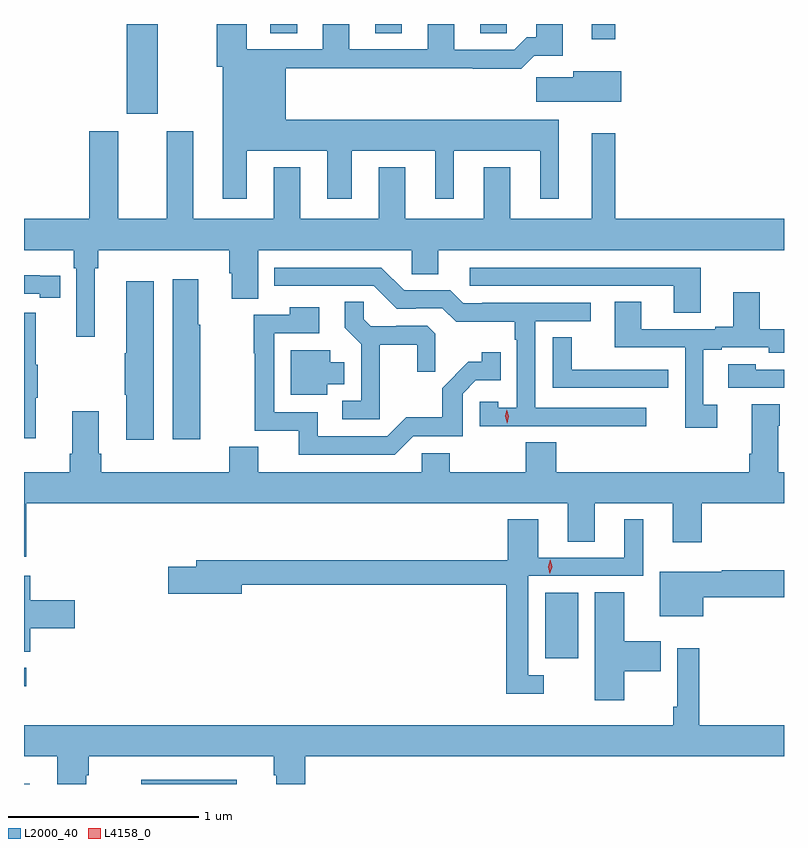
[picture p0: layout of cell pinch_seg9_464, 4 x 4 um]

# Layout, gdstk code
import gdstk
lib = gdstk.Library(unit=1e-6, precision=1e-09)
def R(c, l, rs):  # rectangles x0, y0, x1, y1
    for r in rs: c.add(gdstk.rectangle(r[:2], r[2:], *l))
def P(c, l, *ps):  # polygons
    for p in ps: c.add(gdstk.Polygon(p, *l))
L2000_40 = (2000, 40)
L4158_0 = (4158, 0)

pinch_seg9_464 = lib.new_cell('pinch_seg9_464')
R(pinch_seg9_464, L2000_40, [(334.63,1182.954,334.66,1182.955), (335.246,1182.954,335.75,1182.976), (334.63,1183.469,334.642,1183.566), (337.373,1183.616,337.546,1183.96), (335.171,1186.482,335.335,1186.954), (337.619,1186.875,337.741,1186.954), (335.927,1186.906,336.067,1186.954), (336.479,1186.906,336.619,1186.954), (337.031,1186.906,337.17,1186.954)])
P(pinch_seg9_464, L2000_40, [(335.803,1186.286),(336.227,1186.286),(336.227,1186.035),(336.355,1186.035),(336.355,1186.286),(336.794,1186.286),(336.794,1186.035),(336.892,1186.035),(336.892,1186.286),(337.346,1186.286),(337.346,1186.035),(337.444,1186.035),(337.444,1186.45),(336.007,1186.45),(336.007,1186.72),(336.991,1186.72),(336.991,1186.718),(337.247,1186.718),(337.316,1186.787),(337.465,1186.787),(337.465,1186.954),(337.325,1186.954),(337.325,1186.885),(337.276,1186.885),(337.209,1186.818),(336.895,1186.818),(336.895,1186.954),(336.755,1186.954),(336.755,1186.821),(336.343,1186.821),(336.343,1186.954),(336.203,1186.954),(336.203,1186.821),(335.803,1186.821),(335.803,1186.954),(335.644,1186.954),(335.644,1186.728),(335.675,1186.728),(335.675,1186.035),(335.803,1186.035)],
  [(337.774,1186.705),(337.52,1186.705),(337.52,1186.673),(337.326,1186.673),(337.326,1186.544),(337.774,1186.544)],
  [(335.002,1185.668),(335.021,1185.668),(335.021,1185.764),(335.711,1185.764),(335.711,1185.642),(335.723,1185.642),(335.723,1185.508),(335.863,1185.508),(335.863,1185.764),(336.672,1185.764),(336.672,1185.637),(336.811,1185.637),(336.811,1185.764),(338.63,1185.764),(338.63,1185.928),(337.741,1185.928),(337.741,1186.378),(337.619,1186.378),(337.619,1185.928),(337.189,1185.928),(337.189,1186.201),(337.049,1186.201),(337.049,1185.928),(336.637,1185.928),(336.637,1186.201),(336.497,1186.201),(336.497,1185.928),(336.085,1185.928),(336.085,1186.201),(335.945,1186.201),(335.945,1185.928),(335.521,1185.928),(335.521,1186.39),(335.381,1186.39),(335.381,1185.928),(335.125,1185.928),(335.125,1186.39),(334.973,1186.39),(334.973,1185.928),(334.63,1185.928),(334.63,1185.764),(334.892,1185.764),(334.892,1185.668),(334.905,1185.668),(334.905,1185.309),(335.002,1185.309)],
  [(337.906,1184.934),(337.32,1184.934),(337.32,1185.39),(337.612,1185.39),(337.612,1185.486),(337.042,1185.486),(337.042,1185.483),(336.942,1185.483),(336.873,1185.552),(336.63,1185.552),(336.51,1185.672),(335.948,1185.672),(335.948,1185.576),(336.471,1185.576),(336.591,1185.456),(336.692,1185.456),(336.692,1185.459),(336.831,1185.459),(336.904,1185.386),(337.212,1185.386),(337.212,1185.293),(337.224,1185.293),(337.224,1184.935),(337.125,1184.935),(337.125,1184.967),(337.029,1184.967),(337.029,1184.838),(337.513,1184.838),(337.513,1184.836),(337.906,1184.836)],
  [(338.191,1185.672),(336.975,1185.672),(336.975,1185.576),(338.051,1185.576),(338.051,1185.433),(338.191,1185.433)],
  [(334.82,1185.63),(334.712,1185.63),(334.712,1185.631),(334.63,1185.631),(334.63,1185.534),(334.712,1185.534),(334.712,1185.514),(334.82,1185.514)],
  [(335.557,1185.371),(335.548,1185.371),(335.548,1185.61),(335.414,1185.61),(335.414,1184.768),(335.557,1184.768)],
  [(335.314,1185.601),(335.168,1185.601),(335.168,1185.221),(335.161,1185.221),(335.161,1185.004),(335.168,1185.004),(335.168,1184.766),(335.314,1184.766)],
  [(338.278,1184.949),(338.206,1184.949),(338.206,1185.24),(338.302,1185.24),(338.302,1185.252),(338.55,1185.252),(338.55,1185.225),(338.63,1185.225),(338.63,1185.348),(338.503,1185.348),(338.503,1185.541),(338.363,1185.541),(338.363,1185.361),(338.267,1185.361),(338.267,1185.348),(337.879,1185.348),(337.879,1185.491),(337.739,1185.491),(337.739,1185.252),(338.109,1185.252),(338.109,1184.829),(338.278,1184.829)],
  [(336.503,1185.266),(336.7,1185.266),(336.7,1185.123),(336.794,1185.123),(336.794,1185.325),(336.753,1185.366),(336.588,1185.366),(336.588,1185.363),(336.454,1185.363),(336.417,1185.4),(336.417,1185.491),(336.319,1185.491),(336.319,1185.355),(336.405,1185.269),(336.405,1184.97),(336.306,1184.97),(336.306,1184.874),(336.503,1184.874)],
  [(336.678,1184.784),(336.939,1184.784),(336.939,1185.009),(337.008,1185.078),(337.139,1185.078),(337.139,1185.226),(337.038,1185.226),(337.038,1185.176),(336.968,1185.176),(336.831,1185.038),(336.831,1184.883),(336.642,1184.883),(336.543,1184.784),(336.175,1184.784),(336.175,1184.91),(335.946,1184.91),(335.946,1185.327),(336.184,1185.327),(336.184,1185.463),(336.028,1185.463),(336.028,1185.423),(335.838,1185.423),(335.838,1185.22),(335.845,1185.22),(335.845,1184.814),(336.077,1184.814),(336.077,1184.688),(336.582,1184.688)],
  [(334.691,1184.987),(334.702,1184.987),(334.702,1185.161),(334.691,1185.161),(334.691,1185.433),(334.63,1185.433),(334.63,1184.775),(334.691,1184.775)],
  [(338.02,1185.134),(337.907,1185.134),(337.907,1185.135),(337.512,1185.135),(337.512,1185.305),(337.413,1185.305),(337.413,1185.039),(338.02,1185.039)],
  [(336.226,1185.059),(336.316,1185.059),(336.316,1185.175),(336.241,1185.175),(336.241,1185.238),(336.035,1185.238),(336.035,1185.002),(336.226,1185.002)],
  [(338.63,1185.135),(338.481,1185.135),(338.481,1185.163),(338.337,1185.163),(338.337,1185.039),(338.63,1185.039)],
  [(334.643,1184.432),(337.493,1184.432),(337.493,1184.23),(337.633,1184.23),(337.633,1184.432),(338.045,1184.432),(338.045,1184.226),(338.198,1184.226),(338.198,1184.432),(338.63,1184.432),(338.63,1184.596),(338.599,1184.596),(338.599,1184.84),(338.607,1184.84),(338.607,1184.953),(338.459,1184.953),(338.459,1184.692),(338.447,1184.692),(338.447,1184.596),(337.43,1184.596),(337.43,1184.753),(337.27,1184.753),(337.27,1184.596),(336.87,1184.596),(336.87,1184.694),(336.723,1184.694),(336.723,1184.596),(335.863,1184.596),(335.863,1184.729),(335.711,1184.729),(335.711,1184.596),(335.036,1184.596),(335.036,1184.692),(335.023,1184.692),(335.023,1184.917),(334.883,1184.917),(334.883,1184.692),(334.871,1184.692),(334.871,1184.596),(334.63,1184.596),(334.63,1184.151),(334.643,1184.151)],
  [(337.366,1183.527),(337.284,1183.527),(337.284,1184.049),(337.888,1184.049),(337.888,1184.347),(337.79,1184.347),(337.79,1184.145),(337.336,1184.145),(337.336,1184.347),(337.175,1184.347),(337.175,1184.131),(335.537,1184.131),(335.537,1184.097),(335.388,1184.097),(335.388,1183.955),(335.776,1183.955),(335.776,1184.002),(337.168,1184.002),(337.168,1183.43),(337.366,1183.43)],
  [(338.206,1183.937),(338.63,1183.937),(338.63,1184.079),(338.302,1184.079),(338.302,1184.071),(337.976,1184.071),(337.976,1183.838),(338.206,1183.838)],
  [(334.664,1183.775),(334.897,1183.775),(334.897,1183.922),(334.664,1183.922),(334.664,1184.05),(334.63,1184.05),(334.63,1183.651),(334.664,1183.651)],
  [(337.789,1183.547),(337.982,1183.547),(337.982,1183.705),(337.789,1183.705),(337.789,1183.964),(337.634,1183.964),(337.634,1183.395),(337.789,1183.395)],
  [(334.957,1183.001),(334.97,1183.001),(334.97,1183.1),(335.945,1183.1),(335.945,1182.999),(335.957,1182.999),(335.957,1182.954),(336.11,1182.954),(336.11,1183.1),(338.63,1183.1),(338.63,1183.264),(338.183,1183.264),(338.183,1183.669),(338.067,1183.669),(338.067,1183.36),(338.047,1183.36),(338.047,1183.264),(334.63,1183.264),(334.63,1183.1),(334.805,1183.1),(334.805,1182.954),(334.957,1182.954)])
P(pinch_seg9_464, L4158_0, [(337.397,1184.061),(337.397,1184.061),(337.389,1184.097),(337.4,1184.133),(337.4,1184.133),(337.4,1184.133),(337.409,1184.097),(337.398,1184.061)],
  [(337.173,1184.853),(337.173,1184.853),(337.162,1184.889),(337.17,1184.925),(337.17,1184.925),(337.17,1184.925),(337.182,1184.89),(337.173,1184.853)])

lib.write_gds('pinch_seg9_464.gds')
